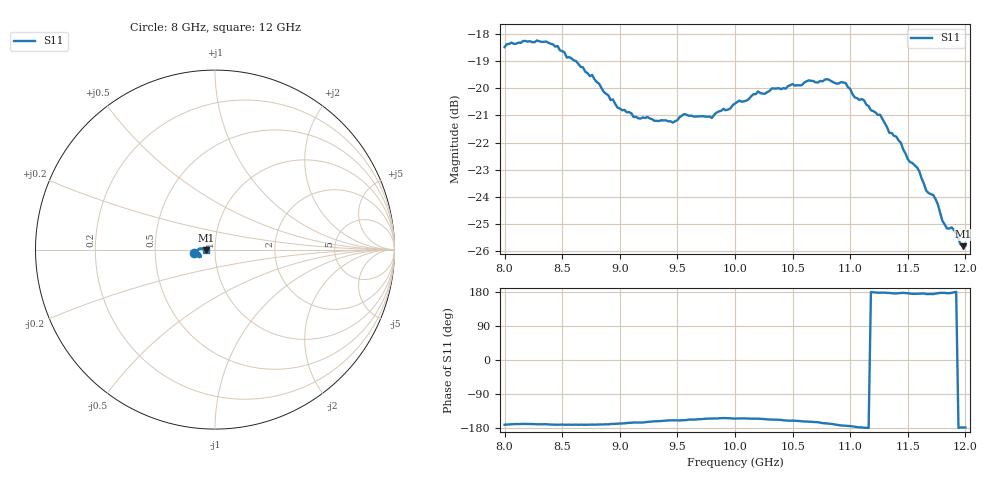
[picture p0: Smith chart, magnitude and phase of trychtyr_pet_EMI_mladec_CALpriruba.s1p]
#  HZ  S  DB  R  50.00
! Rohde & Schwarz ZVA67 4Ports - Version 3.60 - 1305.7002k04 SN: 101051
! Date: 2012-04-10 11:42:05
! Measurement: S22
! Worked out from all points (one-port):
!   201 points, 8 GHz to 12 GHz, reference 50 ohm
!   lowest |S11| = -25.8 dB at 11.98 GHz (marker M1), VSWR 1.11, Z = 45.1 - j0.166 ohm
!   |S11| at or under -10 dB: start of sweep to end of sweep
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8e9  -18.49 -170.9
8.28e9  -18.25 -169.6
8.5e9  -18.64 -170.4
8.76e9  -19.52 -170.4
9e9  -20.75 -167.8
9.16e9  -21.11 -165.2
9.5e9  -21.18 -159.4
9.56e9  -20.95 -158.4
9.8e9  -21.10 -154.6
1e10  -20.57 -154.7
1.02e10  -20.12 -154.8
1.05e10  -19.85 -159.9
1.08e10  -19.67 -167.6
1.096e10  -19.81 -173.4
1.1e10  -20.04 -174.3
1.104e10  -20.34 -175.9
1.126e10  -20.98 177.6
1.134e10  -21.65 176.9
1.144e10  -22.01 176.7
1.15e10  -22.61 176.2
1.158e10  -22.91 174.8
1.166e10  -23.77 174.0
1.174e10  -24.07 175.3
1.18e10  -24.87 177.0
1.184e10  -25.16 176.3
1.19e10  -25.21 178.6
1.198e10  -25.81 -177.9
1.2e10  -25.79 -178.1
